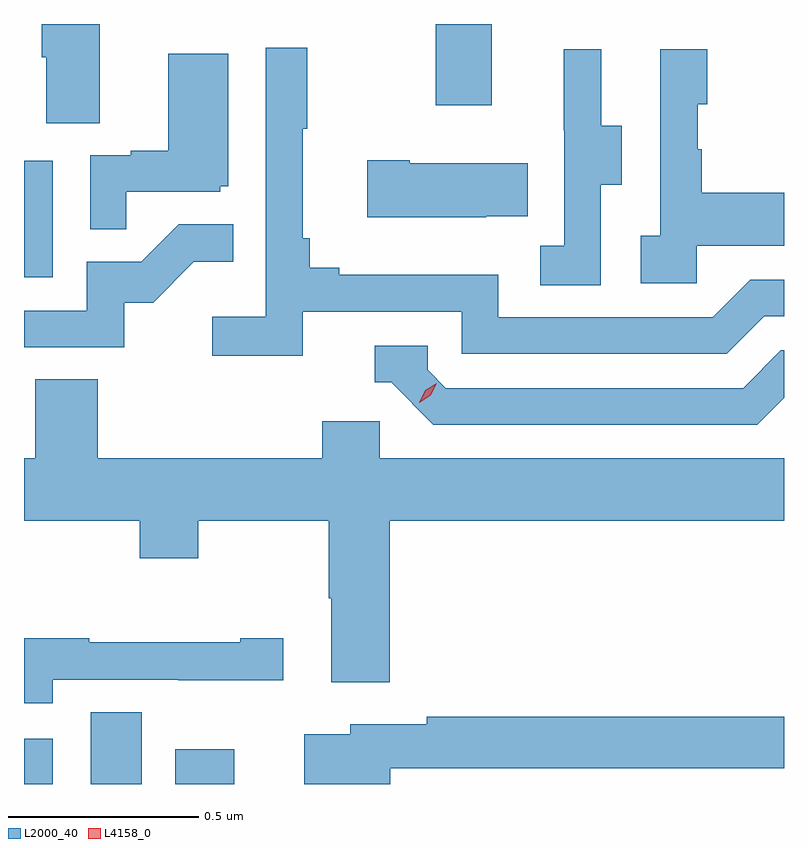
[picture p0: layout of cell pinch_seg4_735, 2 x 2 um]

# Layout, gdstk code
import gdstk
lib = gdstk.Library(unit=1e-6, precision=1e-09)
def R(c, l, rs):  # rectangles x0, y0, x1, y1
    for r in rs: c.add(gdstk.rectangle(r[:2], r[2:], *l))
def P(c, l, *ps):  # polygons
    for p in ps: c.add(gdstk.Polygon(p, *l))
L2000_40 = (2000, 40)
L4158_0 = (4158, 0)

pinch_seg4_735 = lib.new_cell('pinch_seg4_735')
R(pinch_seg4_735, L2000_40, [(845.616,812.111,845.692,812.23), (845.792,812.111,845.926,812.3), (846.014,812.111,846.169,812.203), (845.616,813.444,845.692,813.751), (846.7,813.897,846.847,814.111)])
P(pinch_seg4_735, L2000_40, [(845.815,814.111),(845.663,814.111),(845.663,814.024),(845.675,814.024),(845.675,813.85),(845.815,813.85)],
  [(846.35,813.354),(846.768,813.354),(846.768,813.243),(847.465,813.243),(847.564,813.342),(847.616,813.342),(847.616,813.438),(847.527,813.438),(847.428,813.339),(846.864,813.339),(846.864,813.451),(846.445,813.451),(846.445,813.47),(846.368,813.47),(846.368,813.547),(846.349,813.547),(846.349,813.835),(846.361,813.835),(846.361,814.048),(846.252,814.048),(846.252,813.34),(846.111,813.34),(846.111,813.238),(846.35,813.238)],
  [(847.386,813.527),(847.616,813.527),(847.616,813.667),(847.399,813.667),(847.399,813.782),(847.389,813.782),(847.389,813.9),(847.414,813.9),(847.414,814.045),(847.29,814.045),(847.29,813.554),(847.239,813.554),(847.239,813.429),(847.386,813.429)],
  [(847.134,813.688),(847.189,813.688),(847.189,813.843),(847.135,813.843),(847.135,814.045),(847.037,814.045),(847.037,813.831),(847.038,813.831),(847.038,813.527),(846.975,813.527),(846.975,813.424),(847.134,813.424)],
  [(845.885,813.669),(846.132,813.669),(846.132,813.684),(846.154,813.684),(846.154,814.033),(845.996,814.033),(845.996,813.778),(845.897,813.778),(845.897,813.765),(845.79,813.765),(845.79,813.571),(845.885,813.571)],
  [(846.833,813.605),(846.941,813.605),(846.941,813.745),(846.631,813.745),(846.631,813.753),(846.519,813.753),(846.519,813.602),(846.833,813.602)],
  [(845.88,813.378),(845.956,813.378),(846.063,813.485),(846.167,813.485),(846.167,813.584),(846.023,813.584),(845.925,813.486),(845.781,813.486),(845.781,813.357),(845.616,813.357),(845.616,813.261),(845.88,813.261)],
  [(847.616,813.127),(847.616,813.252),(847.608,813.252),(847.509,813.153),(846.726,813.153),(846.678,813.201),(846.678,813.264),(846.539,813.264),(846.539,813.168),(846.582,813.168),(846.693,813.057),(847.546,813.057)],
  [(846.578,812.804),(847.616,812.804),(847.616,812.968),(846.552,812.968),(846.552,813.066),(846.401,813.066),(846.401,812.968),(845.81,812.968),(845.81,813.176),(845.645,813.176),(845.645,812.968),(845.616,812.968),(845.616,812.804),(845.92,812.804),(845.92,812.705),(846.075,812.705),(846.075,812.804),(846.418,812.804),(846.418,812.6),(846.425,812.6),(846.425,812.379),(846.578,812.379)],
  [(845.692,812.385),(846.022,812.385),(846.022,812.384),(846.298,812.384),(846.298,812.494),(846.185,812.494),(846.185,812.484),(845.788,812.484),(845.788,812.494),(845.616,812.494),(845.616,812.324),(845.692,812.324)],
  [(846.58,812.152),(847.616,812.152),(847.616,812.288),(846.676,812.288),(846.676,812.268),(846.474,812.268),(846.474,812.242),(846.353,812.242),(846.353,812.111),(846.58,812.111)])
P(pinch_seg4_735, L4158_0, [(846.656,813.114),(846.656,813.114),(846.672,813.147),(846.702,813.166),(846.702,813.166),(846.702,813.166),(846.687,813.134),(846.656,813.114)])

lib.write_gds('pinch_seg4_735.gds')
